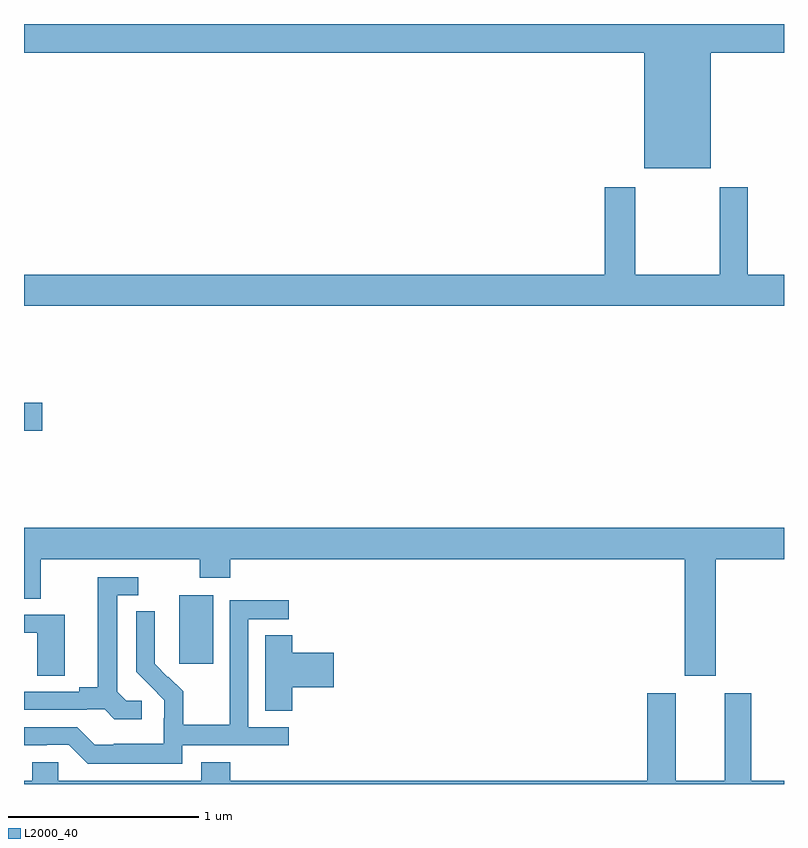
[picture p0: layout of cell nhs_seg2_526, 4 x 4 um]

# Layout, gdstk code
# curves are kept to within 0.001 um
import gdstk
lib = gdstk.Library(unit=1e-6, precision=1e-09)
def R(c, l, rs):  # rectangles x0, y0, x1, y1
    for r in rs: c.add(gdstk.rectangle(r[:2], r[2:], *l))
def P(c, l, *ps):  # polygons
    for p in ps: c.add(gdstk.Polygon(p, *l))
L2000_40 = (2000, 40)

nhs_seg2_526 = lib.new_cell('nhs_seg2_526')
R(nhs_seg2_526, L2000_40, [(137.816,632.433,137.995,632.794), (137,633.659,137.095,633.806)])
P(nhs_seg2_526, L2000_40, [(140.614,635.648),(141,635.648),(141,635.8),(137,635.8),(137,635.648),(140.264,635.648),(140.264,635.042),(140.614,635.042)],
  [(141,634.48),(140.809,634.48),(140.809,634.942),(140.662,634.942),(140.662,634.48),(140.217,634.48),(140.217,634.942),(140.057,634.942),(140.057,634.48),(137,634.48),(137,634.316),(141,634.316)],
  [(140.641,632.984),(141,632.984),(141,633.148),(137,633.148),(137,632.776),(137.089,632.776),(137.089,632.984),(137.926,632.984),(137.926,632.885),(138.086,632.885),(138.086,632.984),(140.477,632.984),(140.477,632.37),(140.641,632.37)],
  [(137.62,632.238),(137.538,632.238),(137.491,632.285),(137.491,632.793),(137.602,632.793),(137.602,632.889),(137.387,632.889),(137.387,632.309),(137.291,632.309),(137.291,632.286),(137,632.286),(137,632.19),(137.33,632.19),(137.33,632.193),(137.424,632.193),(137.476,632.141),(137.62,632.141)],
  [(137.832,632.004),(138.394,632.004),(138.394,632.1),(138.18,632.1),(138.18,632.667),(138.394,632.667),(138.394,632.766),(138.084,632.766),(138.084,632.336),(138.082,632.336),(138.082,632.113),(137.837,632.113),(137.837,632.287),(137.76,632.364),(137.757,632.361),(137.687,632.432),(137.688,632.708),(137.592,632.708),(137.592,632.39),(137.738,632.242),(137.738,632.145),(137.736,632.145),(137.736,632.011),(137.473,632.011),(137.473,632.007),(137.373,632.007),(137.28,632.1),(137,632.1),(137,632.003),(137.12,632.004),(137.12,632.007),(137.235,632.007),(137.335,631.907),(137.832,631.907)],
  [(137.215,632.691),(137,632.691),(137,632.595),(137.07,632.595),(137.07,632.371),(137.215,632.371)],
  [(138.413,632.309),(138.631,632.309),(138.631,632.492),(138.413,632.492),(138.413,632.582),(138.269,632.582),(138.269,632.185),(138.413,632.185)],
  [(141,631.816),(140.827,631.816),(140.827,632.278),(140.687,632.278),(140.687,631.816),(140.431,631.816),(140.431,632.278),(140.279,632.278),(140.279,631.816),(138.086,631.816),(138.086,631.915),(137.933,631.915),(137.933,631.816),(137.181,631.816),(137.181,631.914),(137.043,631.914),(137.043,631.816),(137,631.816),(137,631.8),(141,631.8)])

lib.write_gds('nhs_seg2_526.gds')
